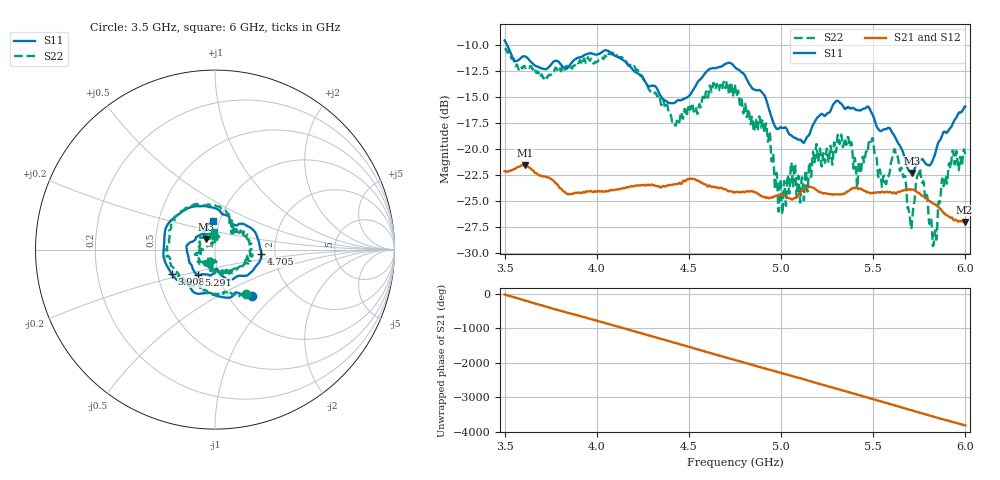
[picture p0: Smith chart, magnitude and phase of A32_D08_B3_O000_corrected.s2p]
! Created with skrf 1.9.0 (http://scikit-rf.org).
# Hz S RI R 50.0
!freq ReS11 ImS11 ReS21 ImS21 ReS12 ImS12 ReS22 ImS22
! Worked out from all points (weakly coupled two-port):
!   1601 points, 3.5 GHz to 6 GHz, reference 50 ohm
!   highest |S21| = -21.51 dB at 3.609 GHz (marker M1); lowest = -27.0 dB at 5.995 GHz (marker M2)
!   lowest |S11| = -22.3 dB at 5.711 GHz (marker M3), VSWR 1.17, Z = 45 + j5.33 ohm
!   |S11| at or under -10 dB: 3.514 GHz to end of sweep
!   |S22| runs from -29.3 to -10.3 dB; largest |S21 - S12| = 0.00096
!   S11 on the Smith chart (normalised r, x): 3.5 GHz: 1.28, -0.75; 3.908 GHz: 0.59, -0.18; 4.705 GHz: 1.69, -0.09; 5.291 GHz: 0.80, -0.23; 6 GHz: 0.93, +0.31
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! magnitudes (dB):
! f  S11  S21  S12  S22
! 3.5 GHz  -9.5  -22.1  -22.1  -10.4
! 3.609 GHz  -11.1  -21.5  -21.5  -12.0
! 3.908 GHz  -11.2  -24.2  -24.2  -11.5
! 3.917 GHz  -11.1  -24.2  -24.2  -11.7
! 4.334 GHz  -14.4  -23.6  -23.5  -14.8
! 4.422 GHz  -15.6  -23.4  -23.4  -17.5
! 4.705 GHz  -11.7  -23.9  -23.9  -13.6
! 4.75 GHz  -12.1  -24.2  -24.1  -13.9
! 4.928 GHz  -15.8  -24.6  -24.6  -19.3
! 4.997 GHz  -17.9  -24.4  -24.4  -22.9
! 5.167 GHz  -17.9  -23.7  -23.6  -21.7
! 5.291 GHz  -15.5  -24.3  -24.3  -19.4
! 5.42 GHz  -16.2  -23.8  -23.8  -21.5
! 5.489 GHz  -16.4  -24.2  -24.2  -19.3
! 5.584 GHz  -17.9  -24.1  -24.1  -22.5
! 5.623 GHz  -19.0  -24.3  -24.2  -20.5
! 5.711 GHz  -22.3  -23.9  -23.8  -26.8
! 5.75 GHz  -21.1  -24.2  -24.2  -22.0
! 5.833 GHz  -20.6  -25.3  -25.2  -28.2
! 5.881 GHz  -18.4  -26.1  -26.1  -23.6
! 5.995 GHz  -15.9  -27.0  -26.9  -20.2
! 6 GHz  -15.9  -27.0  -27.0  -20.3
